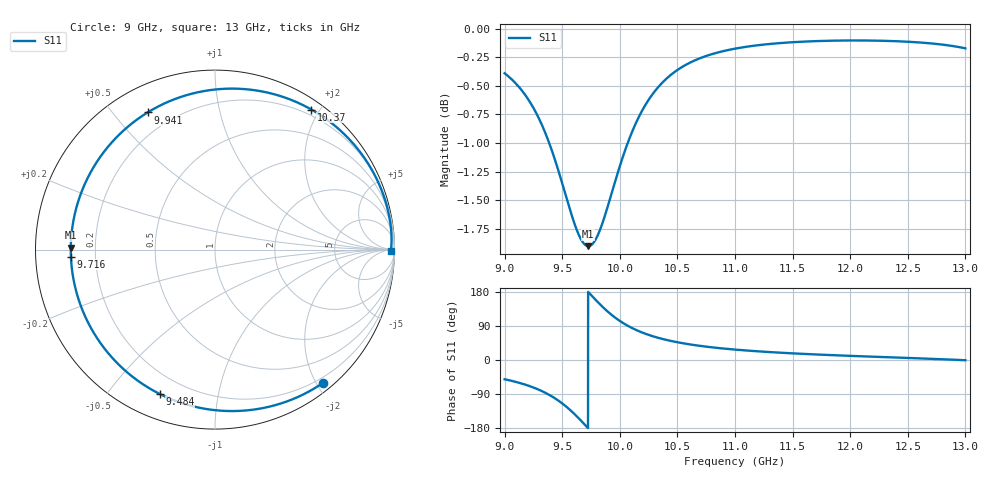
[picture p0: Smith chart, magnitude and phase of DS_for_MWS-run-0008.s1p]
! TOUCHSTONE file generated by CST DESIGN STUDIO
! Date and time: Tue Feb  4 18:24:27 2025
! Project name: C:\Work\MatlabApps\UnitCellOptimizationMatlab\CST\unitcell.cst
! Tree item: Tasks\Sweep1\SPara1\S-Parameters
! Header version: 2024
! Port assignment regex: !\s*Touchstone port\s*([0-9]+)\s*=\s*(CST MWS port|CST DES external port|CST DES block port)\s*(.+)\s* \(\"(.*)\"\)(\s*mode\s*([0-9]+))?.*
! Touchstone port assignment:
! Touchstone port 1 = CST DES external port 1 ("")
# GHz S MA R 50
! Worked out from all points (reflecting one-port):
!   4001 points, 9 GHz to 13 GHz, reference 50 ohm
!   lowest |S11| = -1.9 dB at 9.727 GHz (marker M1), VSWR 9.18, Z = 5.44 + j0.344 ohm
!   phase of S11 starts at -51 deg and turns -310 deg over the sweep
!   S11 on the Smith chart (normalised r, x): 9 GHz: 0.12, -2.10; 9.484 GHz: 0.11, -0.68; 9.716 GHz: 0.11, -0.02; 9.941 GHz: 0.11, +0.62; 10.37 GHz: 0.12, +1.90; 13 GHz: 80, -40
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9  0.9561 -50.8
9.131  0.9421 -60.6
9.254  0.9226 -73.0
9.383  0.8925 -91.3
9.436  0.8768 -100.9
9.484  0.8613 -110.9
9.5  0.856 -114.5
9.55  0.8393 -126.9
9.6  0.8238 -140.7
9.661  0.8095 -159.3
9.716  0.8038 -177.2
9.727  0.8036 179.2
9.771  0.8063 164.8
9.818  0.8145 149.9
9.88  0.8315 131.8
9.941  0.8514 116.2
10  0.8708 103.1
10.08  0.8945 88.5
10.178  0.9177 74.5
10.27  0.934 64.3
10.371  0.9473 55.5
10.5  0.9592 46.8
10.718  0.9715 36.4
11  0.98 27.5
11.5  0.9863 17.5
12  0.9881 10.9
12.5  0.9868 5.4
13  0.9803 -0.6
